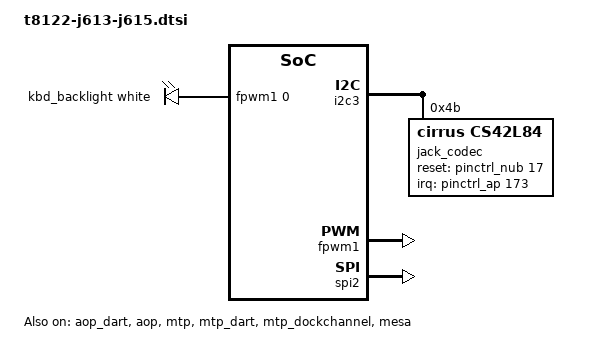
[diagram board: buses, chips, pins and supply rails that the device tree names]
// SPDX-License-Identifier: GPL-2.0+ OR MIT
/*
 * Apple MacBook Air (13-inch and 15-inch, M3, 2024)
 *
 * This file contains the parts common to J613 and J615 devices with t8122.
 *
 * target-type: J613, J615
 *
 * Copyright The Asahi Linux Contributors
 */

#include "t8122-usbpd-spmi.dtsi"
#include "t8122-jxxx.dtsi"
#include <dt-bindings/leds/common.h>

/ {
	chassis-type = "laptop";

	aliases {
		keyboard = &keyboard;
		sep = &sep;
	};

	led-controller {
		compatible = "pwm-leds";
		led-0 {
			pwms = <&fpwm1 0 40000>;
			label = "kbd_backlight";
			function = LED_FUNCTION_KBD_BACKLIGHT;
			color = <LED_COLOR_ID_WHITE>;
			max-brightness = <255>;
			default-state = "keep";
		};
	};
};

&aop_mbox {
	status = "okay";
};

&aop_dart {
	status = "okay";
};

&aop_admac {
	status = "okay";
};

&aop {
	status = "okay";
};

&aop_audio {
	apple,machine-kind = "MacBook Air";
};

&i2c3 {
	jack_codec: codec@4b {
		compatible = "cirrus,cs42l84";
		reg = <0x4b>;
		reset-gpios = <&pinctrl_nub 17 GPIO_ACTIVE_HIGH>;
		#sound-dai-cells = <0>;
		interrupts-extended = <&pinctrl_ap 173 IRQ_TYPE_LEVEL_LOW>;
		sound-name-prefix = "Jack";
	};
};

&fpwm1 {
	status = "okay";
};

&mtp {
	status = "okay";
};

&mtp_mbox {
	status = "okay";
};

&mtp_dart {
	status = "okay";
};

&mtp_dockchannel {
	status = "okay";
};

&mtp_hid {
	apple,afe-reset-gpios = <&smc_gpio 8 GPIO_ACTIVE_LOW>;
	apple,stm-reset-gpios = <&smc_gpio 24 GPIO_ACTIVE_LOW>;

	mtp_mt: multi-touch {
	};

	keyboard: keyboard {
		hid-country-code = <0>;
		apple,keyboard-layout-id = <0>;
	};

	stm {
	};

	actuator {
	};

	tp_accel {
	};
};

#include "isp-imx558-cfg0.dtsi"

&isp {
	apple,platform-id = <18>;
	apple,temporal-filter = <1>;
};

/* Touch ID; its data-ready line (AP GPIO 199) is left out, so it polls. */
&spi2 {
	status = "okay";
};

&mesa {
	status = "okay";
	enable-gpios = <&pinctrl_nub 29 GPIO_ACTIVE_HIGH>;
	spi-cs-setup-delay-ns = <20>;
	spi-cs-hold-delay-ns = <20>;
};

#include "hwmon-laptop.dtsi"
